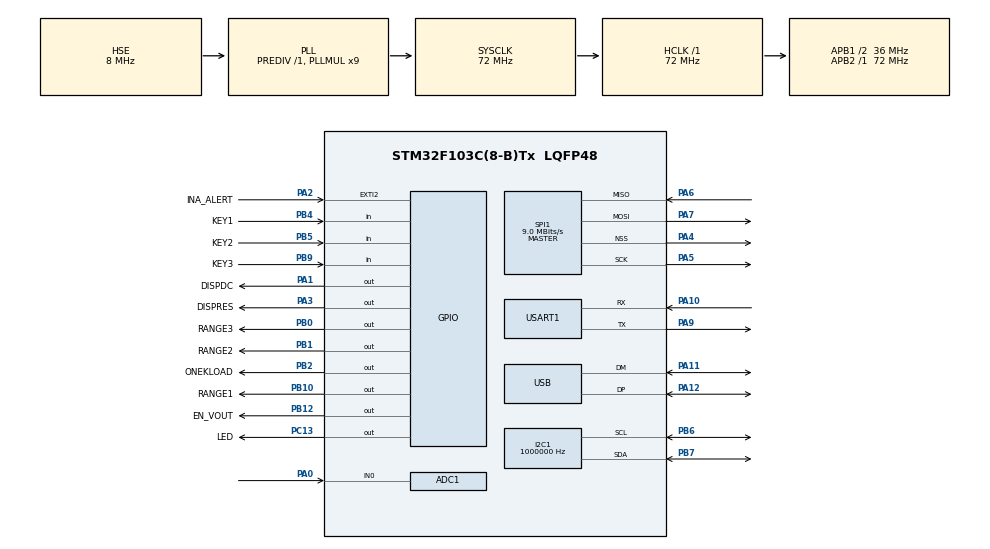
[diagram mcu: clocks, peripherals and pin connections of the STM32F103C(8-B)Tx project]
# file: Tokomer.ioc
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ADC1.Channel-1\#ChannelRegularConversion=ADC_CHANNEL_0
ADC1.ContinuousConvMode=DISABLE
ADC1.EnableRegularConversion=ENABLE
ADC1.ExternalTrigConv=ADC_SOFTWARE_START
ADC1.NbrOfConversionFlag=1
ADC1.Rank-1\#ChannelRegularConversion=1
ADC1.SamplingTime-1\#ChannelRegularConversion=ADC_SAMPLETIME_71CYCLES_5
ADC1.master=1
Dma.Request0=SPI1_TX
Dma.SPI1_TX.0.Direction=DMA_MEMORY_TO_PERIPH
Dma.SPI1_TX.0.Instance=DMA1_Channel3
Dma.SPI1_TX.0.MemDataAlignment=DMA_MDATAALIGN_BYTE
Dma.SPI1_TX.0.MemInc=DMA_MINC_ENABLE
Dma.SPI1_TX.0.Mode=DMA_NORMAL
Dma.SPI1_TX.0.PeriphDataAlignment=DMA_PDATAALIGN_BYTE
Dma.SPI1_TX.0.PeriphInc=DMA_PINC_DISABLE
Dma.SPI1_TX.0.Priority=DMA_PRIORITY_LOW
FREERTOS.Tasks01=defaultTask,0,128,StartDefaultTask,Default,NULL,Dynamic,NULL,NULL
I2C1.ClockSpeed=1000000
I2C1.DutyCycle=I2C_DUTYCYCLE_2
I2C1.I2C_Mode=I2C_Fast
Mcu.Family=STM32F1
Mcu.Name=STM32F103C(8-B)Tx
Mcu.Package=LQFP48
NVIC.DMA1_Channel3_IRQn=true\:5\:0\:false\:false\:true\:true\:false\:true
NVIC.EXTI2_IRQn=true\:5\:0\:false\:false\:true\:true\:true\:true
NVIC.I2C1_EV_IRQn=true\:5\:0\:false\:false\:true\:true\:true\:true
NVIC.PriorityGroup=NVIC_PRIORITYGROUP_4
NVIC.TIM1_UP_IRQn=true\:0\:0\:false\:false\:true\:false\:false\:true
NVIC.TIM3_IRQn=true\:5\:0\:false\:false\:true\:true\:true\:true
NVIC.TimeBase=TIM1_UP_IRQn
NVIC.TimeBaseIP=TIM1
NVIC.USB_LP_CAN1_RX0_IRQn=true\:5\:0\:false\:false\:true\:true\:false\:true
PA0-WKUP.Signal=ADCx_IN0
PA1.GPIO_Label=DISPDC
PA1.GPIO_Speed=GPIO_SPEED_FREQ_HIGH
PA1.Signal=GPIO_Output
PA10.Mode=Asynchronous
PA10.Signal=USART1_RX
PA11.Mode=Device
PA11.Signal=USB_DM
PA12.Mode=Device
PA12.Signal=USB_DP
PA13.Mode=Serial_Wire
PA13.Signal=SYS_JTMS-SWDIO
PA14.Mode=Serial_Wire
PA14.Signal=SYS_JTCK-SWCLK
PA2.GPIO_Label=INA_ALERT
PA2.GPIO_ModeDefaultEXTI=GPIO_MODE_IT_FALLING
PA2.Signal=GPXTI2
PA3.GPIO_Label=DISPRES
PA3.GPIO_Speed=GPIO_SPEED_FREQ_HIGH
PA3.Signal=GPIO_Output
PA4.Mode=NSS_Signal_Hard_Output
PA4.Signal=SPI1_NSS
PA5.Mode=Full_Duplex_Master
PA5.Signal=SPI1_SCK
PA6.Mode=Full_Duplex_Master
PA6.Signal=SPI1_MISO
PA7.Mode=Full_Duplex_Master
PA7.Signal=SPI1_MOSI
PA9.Mode=Asynchronous
PA9.Signal=USART1_TX
PB0.GPIO_Label=RANGE3
PB0.GPIO_Speed=GPIO_SPEED_FREQ_HIGH
PB0.PinState=GPIO_PIN_SET
PB0.Signal=GPIO_Output
PB1.GPIO_Label=RANGE2
PB1.GPIO_Speed=GPIO_SPEED_FREQ_HIGH
PB1.Signal=GPIO_Output
PB10.GPIO_Label=RANGE1
PB10.GPIO_PuPd=GPIO_NOPULL
PB10.GPIO_Speed=GPIO_SPEED_FREQ_HIGH
PB10.Signal=GPIO_Output
PB12.GPIO_Label=EN_VOUT
PB12.Signal=GPIO_Output
PB2.GPIO_Label=ONEKLOAD
PB2.GPIO_Speed=GPIO_SPEED_FREQ_HIGH
PB2.PinState=GPIO_PIN_RESET
PB2.Signal=GPIO_Output
PB4.GPIO_Label=KEY1
PB4.GPIO_PuPd=GPIO_PULLUP
PB4.Signal=GPIO_Input
PB5.GPIO_Label=KEY2
PB5.GPIO_PuPd=GPIO_PULLUP
PB5.Signal=GPIO_Input
PB6.Mode=I2C
PB6.Signal=I2C1_SCL
PB7.Mode=I2C
PB7.Signal=I2C1_SDA
PB9.GPIO_Label=KEY3
PB9.GPIO_PuPd=GPIO_PULLUP
PB9.Signal=GPIO_Input
PC13-TAMPER-RTC.GPIO_Label=LED
PC13-TAMPER-RTC.GPIO_ModeDefaultOutputPP=GPIO_MODE_OUTPUT_PP
PC13-TAMPER-RTC.GPIO_PuPd=GPIO_NOPULL
PC13-TAMPER-RTC.GPIO_Speed=GPIO_SPEED_FREQ_HIGH
PC13-TAMPER-RTC.PinState=GPIO_PIN_RESET
PC13-TAMPER-RTC.Signal=GPIO_Output
PC14-OSC32_IN.Mode=LSE-External-Oscillator
PC14-OSC32_IN.Signal=RCC_OSC32_IN
PC15-OSC32_OUT.Mode=LSE-External-Oscillator
PC15-OSC32_OUT.Signal=RCC_OSC32_OUT
PD0-OSC_IN.Mode=HSE-External-Oscillator
PD0-OSC_IN.Signal=RCC_OSC_IN
PD1-OSC_OUT.Mode=HSE-External-Oscillator
PD1-OSC_OUT.Signal=RCC_OSC_OUT
ProjectManager.HeapSize=0x200
ProjectManager.StackSize=0x400
ProjectManager.TargetToolchain=STM32CubeIDE
RCC.ADCPresc=RCC_ADCPCLK2_DIV8
RCC.AHBFreq_Value=72000000
RCC.APB1CLKDivider=RCC_HCLK_DIV2
RCC.APB1Freq_Value=36000000
RCC.APB1TimFreq_Value=72000000
RCC.APB2Freq_Value=72000000
RCC.APB2TimFreq_Value=72000000
RCC.HCLKFreq_Value=72000000
RCC.PLLMUL=RCC_PLL_MUL9
RCC.PLLSourceVirtual=RCC_PLLSOURCE_HSE
RCC.RTCClockSelection=RCC_RTCCLKSOURCE_LSE
RCC.SYSCLKFreq_VALUE=72000000
RCC.SYSCLKSource=RCC_SYSCLKSOURCE_PLLCLK
RCC.USBFreq_Value=48000000
RCC.USBPrescaler=RCC_USBCLKSOURCE_PLL_DIV1_5
RCC.VDD_VALUE=3.2
SH.ADCx_IN0.0=ADC1_IN0,IN0
SPI1.BaudRatePrescaler=SPI_BAUDRATEPRESCALER_8
SPI1.CalculateBaudRate=9.0 MBits/s
SPI1.Direction=SPI_DIRECTION_2LINES
SPI1.Mode=SPI_MODE_MASTER
SPI1.VirtualNSS=VM_NSSHARD
SPI1.VirtualType=VM_MASTER
TIM3.Period=19
TIM3.Prescaler=719
USART1.VirtualMode=VM_ASYNC
USB_DEVICE.CLASS_NAME_FS=CDC
USB_DEVICE.VirtualMode=Cdc
USB_DEVICE.VirtualModeFS=Cdc_FS
VP_FREERTOS_VS_CMSIS_V1.Mode=CMSIS_V1
VP_SYS_VS_tim1.Mode=TIM1
VP_TIM3_VS_ClockSourceITR.Mode=TriggerSource_ITR0
VP_USB_DEVICE_VS_USB_DEVICE_CDC_FS.Mode=CDC_FS
board=custom

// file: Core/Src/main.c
/* USER CODE BEGIN Header */
/**
  ******************************************************************************
  * @file           : main.c
  * @brief          : Main program body
  ******************************************************************************
  * @attention
  *
  * <h2><center>&copy; Copyright (c) 2019 STMicroelectronics.
  * All rights reserved.</center></h2>
  *
  * This software component is licensed by ST under BSD 3-Clause license,
  * the "License"; You may not use this file except in compliance with the
  * License. You may obtain a copy of the License at:
  *                        opensource.org/licenses/BSD-3-Clause
  *
  ******************************************************************************
  */
/* USER CODE END Header */

#include "main.h"
#include "cmsis_os.h"
#include "usb_device.h"

/* USER CODE BEGIN Includes */
#include "usbd_cdc_if.h"
#include <stdbool.h>

/* USER CODE END Includes */

ADC_HandleTypeDef hadc1;

I2C_HandleTypeDef hi2c1;

SPI_HandleTypeDef hspi1;
DMA_HandleTypeDef hdma_spi1_tx;

TIM_HandleTypeDef htim3;

UART_HandleTypeDef huart1;

osThreadId defaultTaskHandle;

void SystemClock_Config(void);
static void MX_GPIO_Init(void);
static void MX_I2C1_Init(void);
static void MX_SPI1_Init(void);
static void MX_ADC1_Init(void);
static void MX_USART1_UART_Init(void);
static void MX_TIM3_Init(void);
static void MX_DMA_Init(void);
void StartDefaultTask(void const * argument);

int main(void)
{

  /* MCU Configuration--------------------------------------------------------*/

  /* Reset of all peripherals, Initializes the Flash interface and the Systick. */
  HAL_Init();

  /* Configure the system clock */
  SystemClock_Config();

  /* Initialize all configured peripherals */
  MX_GPIO_Init();
  MX_I2C1_Init();
  MX_DMA_Init();
  MX_SPI1_Init();
  MX_ADC1_Init();
  MX_USART1_UART_Init();
  MX_TIM3_Init();

  /* Create the thread(s) */
  /* definition and creation of defaultTask */
  osThreadDef(defaultTask, StartDefaultTask, osPriorityNormal, 0, 128);
  defaultTaskHandle = osThreadCreate(osThread(defaultTask), NULL);

  /* Start scheduler */
  osKernelStart();

  /* We should never get here as control is now taken by the scheduler */

  /* Infinite loop */
  while (1)
  {

  }
}

void SystemClock_Config(void)
{
  RCC_OscInitTypeDef RCC_OscInitStruct = {0};
  RCC_ClkInitTypeDef RCC_ClkInitStruct = {0};
  RCC_PeriphCLKInitTypeDef PeriphClkInit = {0};

  /** Initializes the CPU, AHB and APB busses clocks
  */
  RCC_OscInitStruct.OscillatorType = RCC_OSCILLATORTYPE_HSE;
  RCC_OscInitStruct.HSEState = RCC_HSE_ON;
  RCC_OscInitStruct.HSEPredivValue = RCC_HSE_PREDIV_DIV1;
  RCC_OscInitStruct.HSIState = RCC_HSI_ON;
  RCC_OscInitStruct.PLL.PLLState = RCC_PLL_ON;
  RCC_OscInitStruct.PLL.PLLSource = RCC_PLLSOURCE_HSE;
  RCC_OscInitStruct.PLL.PLLMUL = RCC_PLL_MUL9;
  if (HAL_RCC_OscConfig(&RCC_OscInitStruct) != HAL_OK)
  {
    Error_Handler();
  }
  /** Initializes the CPU, AHB and APB busses clocks
  */
  RCC_ClkInitStruct.ClockType = RCC_CLOCKTYPE_HCLK|RCC_CLOCKTYPE_SYSCLK
                              |RCC_CLOCKTYPE_PCLK1|RCC_CLOCKTYPE_PCLK2;
  RCC_ClkInitStruct.SYSCLKSource = RCC_SYSCLKSOURCE_PLLCLK;
  RCC_ClkInitStruct.AHBCLKDivider = RCC_SYSCLK_DIV1;
  RCC_ClkInitStruct.APB1CLKDivider = RCC_HCLK_DIV2;
  RCC_ClkInitStruct.APB2CLKDivider = RCC_HCLK_DIV1;

  if (HAL_RCC_ClockConfig(&RCC_ClkInitStruct, FLASH_LATENCY_2) != HAL_OK)
  {
    Error_Handler();
  }
  PeriphClkInit.PeriphClockSelection = RCC_PERIPHCLK_ADC|RCC_PERIPHCLK_USB;
  PeriphClkInit.AdcClockSelection = RCC_ADCPCLK2_DIV8;
  PeriphClkInit.UsbClockSelection = RCC_USBCLKSOURCE_PLL_DIV1_5;
  if (HAL_RCCEx_PeriphCLKConfig(&PeriphClkInit) != HAL_OK)
  {
    Error_Handler();
  }
}

static void MX_ADC1_Init(void)
{

  ADC_ChannelConfTypeDef sConfig = {0};

  /** Common config
  */
  hadc1.Instance = ADC1;
  hadc1.Init.ScanConvMode = ADC_SCAN_DISABLE;
  hadc1.Init.ContinuousConvMode = DISABLE;
  hadc1.Init.DiscontinuousConvMode = DISABLE;
  hadc1.Init.ExternalTrigConv = ADC_SOFTWARE_START;
  hadc1.Init.DataAlign = ADC_DATAALIGN_RIGHT;
  hadc1.Init.NbrOfConversion = 1;
  if (HAL_ADC_Init(&hadc1) != HAL_OK)
  {
    Error_Handler();
  }
  /** Configure Regular Channel
  */
  sConfig.Channel = ADC_CHANNEL_0;
  sConfig.Rank = ADC_REGULAR_RANK_1;
  sConfig.SamplingTime = ADC_SAMPLETIME_71CYCLES_5;
  if (HAL_ADC_ConfigChannel(&hadc1, &sConfig) != HAL_OK)
  {
    Error_Handler();
  }

}

static void MX_I2C1_Init(void)
{

  hi2c1.Instance = I2C1;
  hi2c1.Init.ClockSpeed = 1000000;
  hi2c1.Init.DutyCycle = I2C_DUTYCYCLE_2;
  hi2c1.Init.OwnAddress1 = 0;
  hi2c1.Init.AddressingMode = I2C_ADDRESSINGMODE_7BIT;
  hi2c1.Init.DualAddressMode = I2C_DUALADDRESS_DISABLE;
  hi2c1.Init.OwnAddress2 = 0;
  hi2c1.Init.GeneralCallMode = I2C_GENERALCALL_DISABLE;
  hi2c1.Init.NoStretchMode = I2C_NOSTRETCH_DISABLE;
  if (HAL_I2C_Init(&hi2c1) != HAL_OK)
  {
    Error_Handler();
  }

}

static void MX_SPI1_Init(void)
{

  /* SPI1 parameter configuration*/
  hspi1.Instance = SPI1;
  hspi1.Init.Mode = SPI_MODE_MASTER;
  hspi1.Init.Direction = SPI_DIRECTION_2LINES;
  hspi1.Init.DataSize = SPI_DATASIZE_8BIT;
  hspi1.Init.CLKPolarity = SPI_POLARITY_LOW;
  hspi1.Init.CLKPhase = SPI_PHASE_1EDGE;
  hspi1.Init.NSS = SPI_NSS_HARD_OUTPUT;
  hspi1.Init.BaudRatePrescaler = SPI_BAUDRATEPRESCALER_8;
  hspi1.Init.FirstBit = SPI_FIRSTBIT_MSB;
  hspi1.Init.TIMode = SPI_TIMODE_DISABLE;
  hspi1.Init.CRCCalculation = SPI_CRCCALCULATION_DISABLE;
  hspi1.Init.CRCPolynomial = 10;
  if (HAL_SPI_Init(&hspi1) != HAL_OK)
  {
    Error_Handler();
  }

}

static void MX_TIM3_Init(void)
{

  TIM_SlaveConfigTypeDef sSlaveConfig = {0};
  TIM_MasterConfigTypeDef sMasterConfig = {0};

  htim3.Instance = TIM3;
  htim3.Init.Prescaler = 719;
  htim3.Init.CounterMode = TIM_COUNTERMODE_UP;
  htim3.Init.Period = 19;
  htim3.Init.ClockDivision = TIM_CLOCKDIVISION_DIV1;
  htim3.Init.AutoReloadPreload = TIM_AUTORELOAD_PRELOAD_DISABLE;
  if (HAL_TIM_Base_Init(&htim3) != HAL_OK)
  {
    Error_Handler();
  }
  sSlaveConfig.SlaveMode = TIM_SLAVEMODE_DISABLE;
  sSlaveConfig.InputTrigger = TIM_TS_ITR0;
  if (HAL_TIM_SlaveConfigSynchro(&htim3, &sSlaveConfig) != HAL_OK)
  {
    Error_Handler();
  }
  sMasterConfig.MasterOutputTrigger = TIM_TRGO_RESET;
  sMasterConfig.MasterSlaveMode = TIM_MASTERSLAVEMODE_DISABLE;
  if (HAL_TIMEx_MasterConfigSynchronization(&htim3, &sMasterConfig) != HAL_OK)
  {
    Error_Handler();
  }

}

static void MX_USART1_UART_Init(void)
{

  huart1.Instance = USART1;
  huart1.Init.BaudRate = 115200;
  huart1.Init.WordLength = UART_WORDLENGTH_8B;
  huart1.Init.StopBits = UART_STOPBITS_1;
  huart1.Init.Parity = UART_PARITY_NONE;
  huart1.Init.Mode = UART_MODE_TX_RX;
  huart1.Init.HwFlowCtl = UART_HWCONTROL_NONE;
  huart1.Init.OverSampling = UART_OVERSAMPLING_16;
  if (HAL_UART_Init(&huart1) != HAL_OK)
  {
    Error_Handler();
  }

}

static void MX_DMA_Init(void)
{

  /* DMA controller clock enable */
  __HAL_RCC_DMA1_CLK_ENABLE();

  /* DMA interrupt init */
  /* DMA1_Channel3_IRQn interrupt configuration */
  HAL_NVIC_SetPriority(DMA1_Channel3_IRQn, 5, 0);
  HAL_NVIC_EnableIRQ(DMA1_Channel3_IRQn);

}

static void MX_GPIO_Init(void)
{
  GPIO_InitTypeDef GPIO_InitStruct = {0};

  /* GPIO Ports Clock Enable */
  __HAL_RCC_GPIOC_CLK_ENABLE();
  __HAL_RCC_GPIOD_CLK_ENABLE();
  __HAL_RCC_GPIOA_CLK_ENABLE();
  __HAL_RCC_GPIOB_CLK_ENABLE();

  /*Configure GPIO pin Output Level */
  HAL_GPIO_WritePin(LED_GPIO_Port, LED_Pin, GPIO_PIN_RESET);

  /*Configure GPIO pin Output Level */
  HAL_GPIO_WritePin(GPIOA, DISPDC_Pin|DISPRES_Pin, GPIO_PIN_RESET);

  /*Configure GPIO pin Output Level */
  HAL_GPIO_WritePin(RANGE3_GPIO_Port, RANGE3_Pin, GPIO_PIN_SET);

  /*Configure GPIO pin Output Level */
  HAL_GPIO_WritePin(GPIOB, RANGE2_Pin|ONEKLOAD_Pin|RANGE1_Pin|EN_VOUT_Pin, GPIO_PIN_RESET);

  /*Configure GPIO pin : LED_Pin */
  GPIO_InitStruct.Pin = LED_Pin;
  GPIO_InitStruct.Mode = GPIO_MODE_OUTPUT_PP;
  GPIO_InitStruct.Pull = GPIO_NOPULL;
  GPIO_InitStruct.Speed = GPIO_SPEED_FREQ_HIGH;
  HAL_GPIO_Init(LED_GPIO_Port, &GPIO_InitStruct);

  /*Configure GPIO pins : DISPDC_Pin DISPRES_Pin */
  GPIO_InitStruct.Pin = DISPDC_Pin|DISPRES_Pin;
  GPIO_InitStruct.Mode = GPIO_MODE_OUTPUT_PP;
  GPIO_InitStruct.Pull = GPIO_NOPULL;
  GPIO_InitStruct.Speed = GPIO_SPEED_FREQ_HIGH;
  HAL_GPIO_Init(GPIOA, &GPIO_InitStruct);

  /*Configure GPIO pin : INA_ALERT_Pin */
  GPIO_InitStruct.Pin = INA_ALERT_Pin;
  GPIO_InitStruct.Mode = GPIO_MODE_IT_FALLING;
  GPIO_InitStruct.Pull = GPIO_NOPULL;
  HAL_GPIO_Init(INA_ALERT_GPIO_Port, &GPIO_InitStruct);

  /*Configure GPIO pins : RANGE3_Pin RANGE2_Pin ONEKLOAD_Pin RANGE1_Pin */
  GPIO_InitStruct.Pin = RANGE3_Pin|RANGE2_Pin|ONEKLOAD_Pin|RANGE1_Pin;
  GPIO_InitStruct.Mode = GPIO_MODE_OUTPUT_PP;
  GPIO_InitStruct.Pull = GPIO_NOPULL;
  GPIO_InitStruct.Speed = GPIO_SPEED_FREQ_HIGH;
  HAL_GPIO_Init(GPIOB, &GPIO_InitStruct);

  /*Configure GPIO pin : EN_VOUT_Pin */
  GPIO_InitStruct.Pin = EN_VOUT_Pin;
  GPIO_InitStruct.Mode = GPIO_MODE_OUTPUT_PP;
  GPIO_InitStruct.Pull = GPIO_NOPULL;
  GPIO_InitStruct.Speed = GPIO_SPEED_FREQ_LOW;
  HAL_GPIO_Init(EN_VOUT_GPIO_Port, &GPIO_InitStruct);

  /*Configure GPIO pins : KEY1_Pin KEY2_Pin KEY3_Pin */
  GPIO_InitStruct.Pin = KEY1_Pin|KEY2_Pin|KEY3_Pin;
  GPIO_InitStruct.Mode = GPIO_MODE_INPUT;
  GPIO_InitStruct.Pull = GPIO_PULLUP;
  HAL_GPIO_Init(GPIOB, &GPIO_InitStruct);

  /* EXTI interrupt init*/
  HAL_NVIC_SetPriority(EXTI2_IRQn, 5, 0);
  HAL_NVIC_EnableIRQ(EXTI2_IRQn);

}

/* USER CODE BEGIN 4 */
osThreadId osMainThreadId;
osThreadId osUpdateScreenThreadId;
osThreadId osflushUsbBufferThreadId;

uint8_t buf[3];
int16_t inaRes;
void USR_I2C_MasterRxCpltCallback(I2C_HandleTypeDef *hi2c) {
  inaRes = buf[1]|buf[0]<<8;
  osSignalSet (osMainThreadId, 0x2);
}

void USR_I2C_MasterTxCpltCallback(I2C_HandleTypeDef *hi2c) {
  osSignalSet (osMainThreadId, 0x2);
}

void USR_TIM_PeriodElapsedCallback(TIM_HandleTypeDef *htim) {
  osSignalSet (osMainThreadId, 0x1);
}

int32_t  miliVolts =0;
int32_t  microAmps =0;
uint64_t sumBusMillVolts =         0;
uint64_t sumBusMillVoltsOrig =     0;
int32_t  maxBusMillVolts =         0;
int32_t  minBusMillVolts =         0;
int64_t  sumBusMicroAmps =         0;
int32_t  minBusMicroAmps =         0;
int32_t  maxBusMicroAmps =         0;
int64_t  sumBusMicroAmpsOrig  =    0;
int64_t  totalBusMicroAmps    =    0;
uint32_t readings             =    0;
int16_t  zero             = 11;
uint8_t  skip             = 0;
uint8_t  power            = 0;
uint8_t  overload         = 0;
uint8_t  power_state      = 0;
uint8_t  ina226           = 0;
uint8_t  ina226_state     = 0;
uint8_t  range            = 3;
uint8_t  range_last       = 3;
uint8_t  forcedRange      = 0;   // 0 - not forced, 1 - 5 Ohm, 2 - 0.5 Ohm, 3 - 0.05 Ohm
bool serialEnable = false;
uint16_t ranges[4]={0,128,1222,10683};
uint8_t rangeScale=0;
uint32_t rangeScales[4][4]={{11000,12000,110000,120000},
                           {5500,6000,55000,60000},
                           {2750,3000,27500,30000},
                           {1100,1200,11000,12000},
                          };
uint16_t voltageK = 17000;
uint16_t refreshT = 500;
uint8_t  rangeRiseT = 3; // with 10k/4.7k rise time is ~200us, at that time measurment can'be valid
                         // our cycle now is eaxactly 200us (rangeRiseT=1)
                         // because change can happen unaligned to mesurment cycle we need to wait 2T
                         // but for safety probably better 3T

void HAL_GPIO_EXTI_Callback(uint16_t GPIO_Pin)
{
  if(GPIO_Pin == GPIO_PIN_2)
  {
    // shunt overvoltage, don't think, try to set range 3 right away
    HAL_GPIO_WritePin(RANGE3_GPIO_Port, RANGE3_Pin, GPIO_PIN_SET);
    HAL_GPIO_WritePin(RANGE2_GPIO_Port, RANGE2_Pin, GPIO_PIN_RESET);
    HAL_GPIO_WritePin(RANGE1_GPIO_Port, RANGE1_Pin, GPIO_PIN_RESET);
    range = 3;
    skip=rangeRiseT;
  }
}

uint64_t lsumBusMillVolts;
uint64_t lsumBusMillVoltsOrig;
int32_t  lmaxBusMillVolts;
int32_t  lminBusMillVolts;
int64_t  lsumBusMicroAmps;
int32_t  lmaxBusMicroAmps;
int32_t  lminBusMicroAmps;
int64_t  lsumBusMicroAmpsOrig;
int64_t  ltotalBusMicroAmps;
uint32_t lreadings=1;
int32_t  lnow;

#include "display_thread.h"
osThreadDef (updateScreen, updateScreenX, osPriorityIdle, 1, 200);

// using 2 buffers to pack data to best suite for 64 byte CDC blocks
#define USB_SERIAL_TX_BUF_SIZE 64
char	bufUsb[2][USB_SERIAL_TX_BUF_SIZE];
uint16_t usbLen=0;
uint8_t usbPage=0;
uint8_t* usbToSendBuf=NULL;
uint16_t usbToSendSize=0;

// flush buffer thread, send chunks upon fullfilment
void flushUsbBuffer(void const *arg) {
  osflushUsbBufferThreadId = osThreadGetId();

  for(;;)
  {
    osSignalWait(0x1,1000);
    CDC_Transmit_FS(usbToSendBuf,usbToSendSize);
  }
}
osThreadDef (flushUsbThread, flushUsbBuffer, osPriorityBelowNormal, 1, 200);

#include <math.h>
#include "eeprom.h"

uint16_t VirtAddVarTab[NumbOfVar] = {0x1700, 0x1701, 0x1702, 0x1703};

// mode 1 - calibration, measure shunt and voltage with 1ms conversion
// mode 0 - measuring current every 200ms 5khz
void configureINA226Mode(uint8_t mode) {
  buf[0]=0; buf[1]=0x40; buf[2]=0;
  // configure ina
  // mode: 0 - off, 1 - shunt, 2 - bus, 3 - both, 4 - shutdown, 5 - cont.shunt, 6 - cont.bus, 7 - cont.both
  buf[2] = mode==1?7:5; // in mode 1 we measure bith
  // shunt conversion time:  0 - 140, 1 - 204, 2 - 322, 3 - 588, 4 - 1100, 5 - 2116, 6 - 4156, 7 - 8244
  buf[2] |= (mode==1?4:1)<<3;
  // bus conversion time:  0 - 140, 1 - 204, 2 - 332, 3 - 588, 4 - 1100, 5 - 2116, 6 - 4156, 7 - 8244
  buf[2] |= (mode==1?0:1)<<6;
  buf[1] |= (mode==1?1:0)>>2;
  // averaging: 0 - 1, 1 - 4, 2 - 16, 3 - 64, 4 - 128, 5 -256, 6 - 512, 7 - 1024
  // buf[1] = 0x1<<1;
  HAL_I2C_Master_Transmit_IT(&hi2c1,0x80,buf,3);
  osSignalWait(0x2,10);

  // preselect current shunt register after configuration
  buf[0]=1;
  HAL_I2C_Master_Transmit_IT(&hi2c1,0x80,buf,1);
  osSignalWait(0x2,10);
}

/* USER CODE END 4 */

void StartDefaultTask(void const * argument)
{
  /* init code for USB_DEVICE */
  MX_USB_DEVICE_Init();
  /* USER CODE BEGIN 5 */
  osMainThreadId = osThreadGetId ();
  osThreadCreate(osThread (updateScreen), NULL);
  osThreadCreate(osThread (flushUsbThread), NULL);
  HAL_TIM_Base_Start_IT(&htim3);

  HAL_FLASH_Unlock();

  EE_Init();

  //uint16_t ee_val;
  //EE_ReadVariable(0x1700,&ee_val); zero = ee_val;
  //EE_ReadVariable(0x1701,&ranges[2]);
  //EE_ReadVariable(0x1702,&ranges[3]);
  //EE_ReadVariable(0x1703,&voltageK);

  /* Infinite loop */
  char*  pageBuf=bufUsb[usbPage];

  range = 3;
  HAL_GPIO_WritePin(RANGE1_GPIO_Port, RANGE1_Pin, GPIO_PIN_RESET);
	HAL_GPIO_WritePin(RANGE2_GPIO_Port, RANGE2_Pin, GPIO_PIN_RESET);
	HAL_GPIO_WritePin(RANGE3_GPIO_Port, RANGE3_Pin, GPIO_PIN_SET);

  HAL_GPIO_WritePin(GPIOC, GPIO_PIN_13, GPIO_PIN_SET);

  // send INA226 reset
  buf[0]=0; buf[1]=0x80; buf[2]=0x00;
  HAL_I2C_Master_Transmit(&hi2c1,0x80,buf,3,100);
  osDelay(1);

  // configure ina
  configureINA226Mode(0);
  osDelay(1);
  // set SOL flag (shut overvoltage)
  buf[0]=6; buf[1] = 0x80; buf[2]=0;
  HAL_I2C_Master_Transmit(&hi2c1,0x80,buf,3,100);
  // set Alert limit to maxium positive value -1
  buf[0]=7; buf[1] = 0x7F; buf[2]=0xFE;
  HAL_I2C_Master_Transmit(&hi2c1,0x80,buf,3,100);

  // select shunt raw register
  buf[0]=1;
  HAL_I2C_Master_Transmit(&hi2c1,0x80,buf,1,100);

  HAL_I2C_RegisterCallback(&hi2c1,HAL_I2C_MASTER_RX_COMPLETE_CB_ID,&USR_I2C_MasterRxCpltCallback);
  HAL_I2C_RegisterCallback(&hi2c1,HAL_I2C_MASTER_TX_COMPLETE_CB_ID,&USR_I2C_MasterTxCpltCallback);
  HAL_TIM_RegisterCallback(&htim3,HAL_TIM_PERIOD_ELAPSED_CB_ID,&USR_TIM_PeriodElapsedCallback);

  int cicleCounter =0;
  int32_t  absMicroAmps =0;

  for(;;)
  {
    osSignalWait(0x1,10);
    HAL_ADC_Start(&hadc1);

    if (ina226!=ina226_state) {
      ina226_state = ina226;
      configureINA226Mode(ina226_state);
    }
    if (ina226_state==1) {
      buf[0]=2;
      HAL_I2C_Master_Transmit_IT(&hi2c1,0x80,buf,1);
      osSignalWait(0x2,10);
      HAL_I2C_Master_Receive_IT(&hi2c1,0x80,buf,2);
      osSignalWait(0x2,10);
      sumBusMillVoltsOrig += (uint16_t)inaRes+(((uint16_t)inaRes)>>2);
      buf[0]=1;
      HAL_I2C_Master_Transmit_IT(&hi2c1,0x80,buf,1);
      osSignalWait(0x2,10);
    }

	  HAL_I2C_Master_Receive_IT(&hi2c1,0x80,buf,2);
    osSignalWait(0x2,10);
    if (skip==0) {
      // virtual current breaker, on max range max values, STOP!
      if (range==3 && (inaRes>=0x7fff || inaRes<=-0x7fff)) {
        power = 0;
        overload = true;
      }
      // we might need to skeep measurement which happened when we switch ranges
      microAmps = inaRes;
      microAmps = (microAmps*ranges[range])>>8;
//      microAmps = round((float)microAmps/100);
    }
    else
       skip--;

    // adjust range
    if (power!=power_state) {
      HAL_GPIO_WritePin(EN_VOUT_GPIO_Port, EN_VOUT_Pin, power?GPIO_PIN_SET:GPIO_PIN_RESET);
      power_state=power;
    }
    absMicroAmps = abs(microAmps);

    // to put into right range when forced fake range control current
    if (forcedRange!=0) {
      if (forcedRange==1)
        absMicroAmps = rangeScales[rangeScale][0]-1;
      else if (forcedRange==2)
        absMicroAmps = rangeScales[rangeScale][1]+1;
      else
        absMicroAmps = rangeScales[rangeScale][3]+1;
    }

    // range 1 locks if current < 11 ma
    if (range!=1 && absMicroAmps < rangeScales[rangeScale][0]) {
          HAL_GPIO_WritePin(RANGE1_GPIO_Port, RANGE1_Pin, GPIO_PIN_SET);
          HAL_GPIO_WritePin(RANGE2_GPIO_Port, RANGE2_Pin, GPIO_PIN_RESET);
          HAL_GPIO_WritePin(RANGE3_GPIO_Port, RANGE3_Pin, GPIO_PIN_RESET);
          range = 1;
          skip=rangeRiseT;
    }

    // range 2 lock if current grows above 12 ma or reduces less than 110
    if (range!=2 && absMicroAmps > rangeScales[rangeScale][1] && absMicroAmps < rangeScales[rangeScale][2]) {
          HAL_GPIO_WritePin(RANGE2_GPIO_Port, RANGE2_Pin, GPIO_PIN_SET);
          HAL_GPIO_WritePin(RANGE1_GPIO_Port, RANGE1_Pin, GPIO_PIN_RESET);
          HAL_GPIO_WritePin(RANGE3_GPIO_Port, RANGE3_Pin, GPIO_PIN_RESET);
          range = 2;
          skip=rangeRiseT;
    }

    // range 3 locks for current bigger than 120 ma
    if (range!=3 && absMicroAmps > rangeScales[rangeScale][3]) {
      HAL_GPIO_WritePin(RANGE3_GPIO_Port, RANGE3_Pin, GPIO_PIN_SET);
      HAL_GPIO_WritePin(RANGE2_GPIO_Port, RANGE2_Pin, GPIO_PIN_RESET);
      HAL_GPIO_WritePin(RANGE1_GPIO_Port, RANGE1_Pin, GPIO_PIN_RESET);
      range = 3;
      skip=rangeRiseT;
    }

    sumBusMicroAmpsOrig += microAmps; // microAmps;
    microAmps-=zero;
    // update current accumulators
    if (readings==0) {
      minBusMicroAmps = maxBusMicroAmps = microAmps;
    } else {
      if (microAmps<minBusMicroAmps)
        minBusMicroAmps = microAmps;
      if (microAmps>maxBusMicroAmps)
        maxBusMicroAmps = microAmps;
    }
    sumBusMicroAmps += microAmps;     // Add current value to sum
    totalBusMicroAmps += (microAmps * 0x333)>>12; // 0.2;
    miliVolts = (HAL_ADC_GetValue(&hadc1)*voltageK)>>12; // 18000/4096;
    sumBusMillVolts += miliVolts; // 14970 = 6 * 3000 (3.0000 v)

    // update voltage accumulators
    if (readings==0) {
      minBusMillVolts = maxBusMillVolts = miliVolts;
    } else {
      if (miliVolts<minBusMillVolts)
        minBusMillVolts = miliVolts;
      if (miliVolts>maxBusMillVolts)
        maxBusMillVolts = miliVolts;
    }
    readings++;

    if (serialEnable) {
      itoa(microAmps,pageBuf,10);
      uint8_t len=strlen(pageBuf);
      pageBuf += len;
      *(pageBuf++)=',';
      usbLen+=len+1;
      itoa(miliVolts/10,pageBuf,10);
      len=strlen(pageBuf);
      pageBuf += len;
      *(pageBuf++)='\n';
      usbLen+=len+1;

      // 14 is maxium line size that we can send -1800000,1200n
      // so as soon as have less than that we need to send them out
      if (usbLen>USB_SERIAL_TX_BUF_SIZE-14) {
        usbToSendBuf = (uint8_t *)bufUsb[usbPage];
        usbToSendSize = usbLen;
        // signalize that we have some data to send
        osSignalSet (osflushUsbBufferThreadId, 0x1);
        usbPage = (usbPage+1)%2;
        usbLen = 0;
        pageBuf = bufUsb[usbPage];
      }
    }

    if ((cicleCounter++)>=refreshT) {
      // make data snapshot
      lsumBusMillVoltsOrig=sumBusMillVoltsOrig;
      lsumBusMillVolts=sumBusMillVolts;
      lminBusMillVolts=minBusMillVolts;
      lmaxBusMillVolts=maxBusMillVolts;
      lsumBusMicroAmps=sumBusMicroAmps;
      lminBusMicroAmps=minBusMicroAmps;
      lmaxBusMicroAmps=maxBusMicroAmps;
      lsumBusMicroAmpsOrig=sumBusMicroAmpsOrig;
      ltotalBusMicroAmps=totalBusMicroAmps;
      lreadings=readings;
      if (overload==0)
        lnow+=100;

      // reset readings
      readings = 0;
      sumBusMillVolts = 0;
      sumBusMicroAmps = 0;
      sumBusMicroAmpsOrig = 0;
      sumBusMillVoltsOrig = 0;

      // signaling udpate screen thread
      osSignalSet (osUpdateScreenThreadId, 0x1);
      cicleCounter=0;

      // blink with led if range was changed
      if (range!=range_last) {
        range_last=range;
        HAL_GPIO_WritePin(GPIOC, GPIO_PIN_13, GPIO_PIN_RESET);
      } else {
        HAL_GPIO_WritePin(GPIOC, GPIO_PIN_13, GPIO_PIN_SET);
      }

    }
  }
  /* USER CODE END 5 */
}

void HAL_TIM_PeriodElapsedCallback(TIM_HandleTypeDef *htim)
{
  if (htim->Instance == TIM1) {
    HAL_IncTick();
  }
}

void Error_Handler(void)
{
}

/************************ (C) COPYRIGHT STMicroelectronics *****END OF FILE****/
